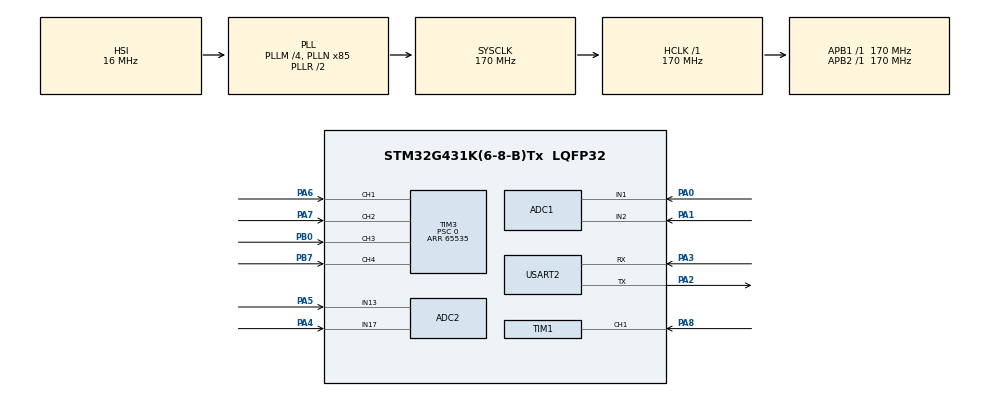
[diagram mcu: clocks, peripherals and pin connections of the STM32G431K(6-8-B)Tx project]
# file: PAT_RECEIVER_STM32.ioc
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ADC1.Channel-0\#ChannelRegularConversion=ADC_CHANNEL_1
ADC1.Channel-1\#ChannelRegularConversion=ADC_CHANNEL_2
ADC1.ContinuousConvMode=ENABLE
ADC1.DMAContinuousRequests=ENABLE
ADC1.NbrOfConversion=2
ADC1.NbrOfConversionFlag=1
ADC1.OffsetNumber-0\#ChannelRegularConversion=ADC_OFFSET_NONE
ADC1.OffsetNumber-1\#ChannelRegularConversion=ADC_OFFSET_NONE
ADC1.Overrun=ADC_OVR_DATA_OVERWRITTEN
ADC1.Rank-0\#ChannelRegularConversion=1
ADC1.Rank-1\#ChannelRegularConversion=2
ADC1.SamplingTime-0\#ChannelRegularConversion=ADC_SAMPLETIME_24CYCLES_5
ADC1.SamplingTime-1\#ChannelRegularConversion=ADC_SAMPLETIME_24CYCLES_5
ADC1.master=1
ADC2.Channel-0\#ChannelRegularConversion=ADC_CHANNEL_17
ADC2.Channel-1\#ChannelRegularConversion=ADC_CHANNEL_13
ADC2.ContinuousConvMode=ENABLE
ADC2.DMAContinuousRequests=ENABLE
ADC2.NbrOfConversion=2
ADC2.NbrOfConversionFlag=1
ADC2.OffsetNumber-0\#ChannelRegularConversion=ADC_OFFSET_NONE
ADC2.OffsetNumber-1\#ChannelRegularConversion=ADC_OFFSET_NONE
ADC2.Overrun=ADC_OVR_DATA_OVERWRITTEN
ADC2.Rank-0\#ChannelRegularConversion=1
ADC2.Rank-1\#ChannelRegularConversion=2
ADC2.SamplingTime-0\#ChannelRegularConversion=ADC_SAMPLETIME_24CYCLES_5
ADC2.SamplingTime-1\#ChannelRegularConversion=ADC_SAMPLETIME_24CYCLES_5
Dma.ADC1.0.Direction=DMA_PERIPH_TO_MEMORY
Dma.ADC1.0.EventEnable=DISABLE
Dma.ADC1.0.Instance=DMA1_Channel1
Dma.ADC1.0.MemDataAlignment=DMA_MDATAALIGN_HALFWORD
Dma.ADC1.0.MemInc=DMA_MINC_ENABLE
Dma.ADC1.0.Mode=DMA_NORMAL
Dma.ADC1.0.PeriphDataAlignment=DMA_PDATAALIGN_HALFWORD
Dma.ADC1.0.PeriphInc=DMA_PINC_DISABLE
Dma.ADC1.0.Polarity=HAL_DMAMUX_REQ_GEN_RISING
Dma.ADC1.0.Priority=DMA_PRIORITY_HIGH
Dma.ADC1.0.RequestNumber=1
Dma.ADC1.0.SignalID=NONE
Dma.ADC1.0.SyncEnable=DISABLE
Dma.ADC1.0.SyncPolarity=HAL_DMAMUX_SYNC_NO_EVENT
Dma.ADC1.0.SyncRequestNumber=1
Dma.ADC1.0.SyncSignalID=NONE
Dma.ADC2.1.Direction=DMA_PERIPH_TO_MEMORY
Dma.ADC2.1.EventEnable=DISABLE
Dma.ADC2.1.Instance=DMA1_Channel2
Dma.ADC2.1.MemDataAlignment=DMA_MDATAALIGN_HALFWORD
Dma.ADC2.1.MemInc=DMA_MINC_ENABLE
Dma.ADC2.1.Mode=DMA_NORMAL
Dma.ADC2.1.PeriphDataAlignment=DMA_PDATAALIGN_HALFWORD
Dma.ADC2.1.PeriphInc=DMA_PINC_DISABLE
Dma.ADC2.1.Polarity=HAL_DMAMUX_REQ_GEN_RISING
Dma.ADC2.1.Priority=DMA_PRIORITY_HIGH
Dma.ADC2.1.RequestNumber=1
Dma.ADC2.1.SignalID=NONE
Dma.ADC2.1.SyncEnable=DISABLE
Dma.ADC2.1.SyncPolarity=HAL_DMAMUX_SYNC_NO_EVENT
Dma.ADC2.1.SyncRequestNumber=1
Dma.ADC2.1.SyncSignalID=NONE
Dma.Request0=ADC1
Dma.Request1=ADC2
Mcu.Family=STM32G4
Mcu.Name=STM32G431K(6-8-B)Tx
Mcu.Package=LQFP32
NUCLEO-G431KB.LD2=true
NUCLEO-G431KB.VCP=false
NVIC.DMA1_Channel1_IRQn=true\:0\:0\:false\:false\:true\:false\:true\:true
NVIC.DMA1_Channel2_IRQn=true\:0\:0\:false\:false\:true\:false\:true\:true
NVIC.PriorityGroup=NVIC_PRIORITYGROUP_4
NVIC.TIM3_IRQn=true\:0\:0\:false\:false\:true\:true\:true\:true
PA0.Mode=IN1-Single-Ended
PA0.Signal=ADC1_IN1
PA1.Mode=IN2-Single-Ended
PA1.Signal=ADC1_IN2
PA13.GPIO_Label=T_SWDIO
PA13.Signal=SYS_JTMS-SWDIO
PA14.GPIO_Label=T_SWCLK
PA14.Signal=SYS_JTCK-SWCLK
PA2.Mode=Asynchronous
PA2.Signal=USART2_TX
PA3.Mode=Asynchronous
PA3.Signal=USART2_RX
PA4.Mode=IN17-Single-Ended
PA4.Signal=ADC2_IN17
PA5.Mode=IN13-Single-Ended
PA5.Signal=ADC2_IN13
PA6.Signal=S_TIM3_CH1
PA7.Signal=S_TIM3_CH2
PA8.Signal=S_TIM1_CH1
PB0.Signal=S_TIM3_CH3
PB3.GPIO_Label=T_SWO
PB3.Signal=SYS_JTDO-SWO
PB7.Signal=S_TIM3_CH4
ProjectManager.HeapSize=0x200
ProjectManager.StackSize=0x400
ProjectManager.TargetToolchain=Makefile
RCC.ADC12Freq_Value=170000000
RCC.AHBFreq_Value=170000000
RCC.APB1Freq_Value=170000000
RCC.APB1TimFreq_Value=170000000
RCC.APB2Freq_Value=170000000
RCC.APB2TimFreq_Value=170000000
RCC.CortexFreq_Value=170000000
RCC.EXTERNAL_CLOCK_VALUE=12288000
RCC.HCLKFreq_Value=170000000
RCC.HSE_VALUE=8000000
RCC.HSI48_VALUE=48000000
RCC.HSI_VALUE=16000000
RCC.LSE_VALUE=32768
RCC.PLLM=RCC_PLLM_DIV4
RCC.PLLN=85
RCC.SYSCLKFreq_VALUE=170000000
RCC.SYSCLKSource=RCC_SYSCLKSOURCE_PLLCLK
RCC.USBFreq_Value=170000000
RCC.VCOOutputFreq_Value=340000000
SH.S_TIM1_CH1.0=TIM1_CH1,Input_Capture1_from_TI1
SH.S_TIM1_CH1.1=TIM1_CH1,TriggerSource_TI1FP1
SH.S_TIM3_CH1.0=TIM3_CH1,Input_Capture1_from_TI1
SH.S_TIM3_CH2.0=TIM3_CH2,Input_Capture2_from_TI2
SH.S_TIM3_CH3.0=TIM3_CH3,Input_Capture3_from_TI3
SH.S_TIM3_CH4.0=TIM3_CH4,Input_Capture4_from_TI4
TIM1.Channel-Input_Capture1_from_TI1=TIM_CHANNEL_1
TIM1.PeriodNoDither=65535
TIM1.TIM_MasterOutputTrigger=TIM_TRGO_UPDATE
TIM1.TIM_MasterSlaveMode=TIM_MASTERSLAVEMODE_DISABLE
TIM3.Channel-Input_Capture1_from_TI1=TIM_CHANNEL_1
TIM3.Channel-Input_Capture2_from_TI2=TIM_CHANNEL_2
TIM3.Channel-Input_Capture3_from_TI3=TIM_CHANNEL_3
TIM3.Channel-Input_Capture4_from_TI4=TIM_CHANNEL_4
TIM3.ICPolarity_CH2=TIM_INPUTCHANNELPOLARITY_RISING
TIM3.PeriodNoDither=65535
TIM3.Prescaler=0
USART2.VirtualMode-Asynchronous=VM_ASYNC
VP_NUCLEO-G431KB_VS_BSP_COMMON.Mode=COMMON
VP_SYS_VS_DBSignals.Mode=DisableDeadBatterySignals
VP_TIM1_VS_ClockSourceINT.Mode=Internal
VP_TIM1_VS_ControllerModeReset.Mode=Reset Mode
VP_TIM3_VS_ClockSourceINT.Mode=Internal
VP_TIM3_VS_ClockSourceITR.Mode=TriggerSource_ITR0
VP_TIM3_VS_ControllerModeReset.Mode=Reset Mode
board=NUCLEO-G431KB

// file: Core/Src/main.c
/* USER CODE BEGIN Header */
/**
  ******************************************************************************
  * @file           : main.c
  * @brief          : PAT 3-channel calibration logger (RX1-RX3)
  ******************************************************************************
  *
  * Target:
  *   NUCLEO-G431KB / STM32G431KBTx
  *
  * External 40 kHz PAT reference:
  *   PA8 / TIM1_CH1 = PAT_REF input capture
  *   TIM1 slave mode = Reset Mode
  *   TIM1 trigger    = TI1FP1
  *   TIM1 TRGO       = Update Event
  *
  * Phase capture:
  *   TIM3 slave mode = Reset Mode
  *   TIM3 trigger    = ITR0 / TIM1_TRGO
  *
  *   PA6 / TIM3_CH1 = RX1 comparator
  *   PA7 / TIM3_CH2 = RX2 comparator
  *   PB0 / TIM3_CH3 = RX3 comparator
  *   PB7 / TIM3_CH4 = RX4 comparator (not used in calibration mode)
  *
  * Buffered waveform ADC inputs:
  *   PA0 / ADC1_IN1  = CH1_TO_ADC
  *   PA1 / ADC1_IN2  = CH2_TO_ADC
  *   PA4 / ADC2_IN17 = CH3_TO_ADC
  *   PA5 / ADC2_IN13 = CH4_TO_ADC
  *
  * Each CHx_TO_ADC signal is taken after the 10k/15k divider and
  * MCP6022 voltage follower.  The firmware reports both the voltage
  * measured at the ADC buffer output and the estimated amplifier-output
  * voltage restored by 5/3.
  *
  * ADC acquisition used by this file:
  *   ADC1: scan 2 ranks continuously, DMA normal
  *         rank 1 = ADC1_IN1, rank 2 = ADC1_IN2
  *   ADC2: scan 2 ranks continuously, DMA normal
  *         rank 1 = ADC2_IN17, rank 2 = ADC2_IN13
  *   Software trigger, continuous conversion enabled.
  *
  * USART2:
  *   PA2 / PA3, 115200 baud
  *
  ******************************************************************************
  */
/* USER CODE END Header */

#include "main.h"
#include "adc.h"
#include "dma.h"
#include "tim.h"
#include "usart.h"
#include "gpio.h"

/* USER CODE BEGIN Includes */
#include <stdint.h>
#include <stdio.h>
/* USER CODE END Includes */

/* USER CODE BEGIN PTD */

typedef struct
{
  uint16_t adc_min;
  uint16_t adc_max;

  uint32_t buffer_dc_mV;
  uint32_t buffer_rms_mV;
  uint32_t buffer_vpp_mV;

  uint32_t amp_rms_mV;
  uint32_t amp_vpp_mV;

  uint32_t pressure_cPa;

  uint8_t clipping;
} RxAmplitudeResult;

typedef struct
{
  uint32_t raw_ticks;
  uint32_t capture_count;
  uint32_t capture_delta;

  int32_t corrected_ticks;
  int32_t delay_ns;
  int32_t phase_mdeg;

  uint8_t has_capture;
  uint8_t edge_rate_valid;
  uint8_t phase_valid;
} RxPhaseResult;

/* USER CODE END PTD */

/* USER CODE BEGIN PD */

#define RX_CHANNEL_COUNT              4U
#define CAL_RX_CHANNEL_COUNT          3U

/*
 * TIM1/TIM3 timer clock = 170 MHz.
 * 170 MHz / 40 kHz = 4250 timer ticks.
 */
#define PAT_PERIOD_TICKS              4250UL
#define TIMER_CLOCK_MHZ               170L

/* Per-channel phase calibration offsets. */
#define RX1_ZERO_OFFSET_TICKS         0L
#define RX2_ZERO_OFFSET_TICKS         0L
#define RX3_ZERO_OFFSET_TICKS         0L
#define RX4_ZERO_OFFSET_TICKS         0L

#define REPORT_INTERVAL_MS            200UL
#define ADC_CAPTURE_TIMEOUT_MS        50UL

#define ADC_VREF_MV                   3300UL
#define ADC_MAX_COUNTS                4095UL

/*
 * ADC1 and ADC2 each scan two ranks continuously.
 * The DMA stream therefore contains:
 *
 *   ADC1: CH1, CH2, CH1, CH2, ...
 *   ADC2: CH3, CH4, CH3, CH4, ...
 *
 * 2048 points per receiver channel gives a useful waveform block while
 * staying comfortably inside the STM32G431KB SRAM budget.
 */
#define ADC_SAMPLES_PER_CHANNEL       2048U
#define ADC_CHANNELS_PER_ADC          2U
#define ADC_DMA_LENGTH                \
    (ADC_SAMPLES_PER_CHANNEL * ADC_CHANNELS_PER_ADC)

/* ADC rail checks. */
#define ADC_CLIP_LOW_COUNTS           16U
#define ADC_CLIP_HIGH_COUNTS          4079U

/*
 * Schematic divider before each CHx_TO_ADC buffer:
 *
 *   amplifier output -- 10k -- ADC-buffer node -- 15k -- GND
 *
 * Vbuffer = Vamp * 15 / (10 + 15) = Vamp * 3/5
 * Vamp    = Vbuffer * 5/3
 */
#define ADC_DIV_RESTORE_NUMERATOR     5UL
#define ADC_DIV_RESTORE_DENOMINATOR   3UL

/*
 * HC10T-40TR-P approximate receive sensitivity:
 * -75 dBV/uBar ~= 1.78 mV/Pa = 1780 uV/Pa.
 */
#define RX_SENS_UV_PER_PA             1780UL

/* MCP6022 non-inverting amplifier gain: 1 + 22k/10k = 3.2. */
#define AMP_GAIN_X1000                3200UL

/* Optional validity checks. */
#define MIN_VALID_BUFFER_RMS_MV       15UL
#define MIN_VALID_CAPTURE_DELTA       7000UL
#define MAX_VALID_CAPTURE_DELTA       9000UL

/* USER CODE END PD */

/* USER CODE BEGIN PV */

static uint16_t adc1_dma_buffer[ADC_DMA_LENGTH]
    __attribute__((aligned(4)));

static uint16_t adc2_dma_buffer[ADC_DMA_LENGTH]
    __attribute__((aligned(4)));

static volatile uint8_t adc1_capture_done = 0U;
static volatile uint8_t adc2_capture_done = 0U;
static volatile uint8_t adc1_capture_error = 0U;
static volatile uint8_t adc2_capture_error = 0U;

/* TIM3_CH1..CH4 capture state for RX1..RX4. */
static volatile uint32_t rx_raw_ticks[RX_CHANNEL_COUNT] = {0U};
static volatile uint32_t rx_capture_count[RX_CHANNEL_COUNT] = {0U};
static volatile uint8_t rx_new_data[RX_CHANNEL_COUNT] = {0U};

/* USER CODE END PV */

void SystemClock_Config(void);

/* USER CODE BEGIN PFP */

static uint8_t capture_adc_block(void);

static uint8_t analyse_interleaved_channel(
    const uint16_t *buffer,
    uint32_t buffer_length,
    uint32_t channel_offset,
    RxAmplitudeResult *result);

static void snapshot_phase_state(
    RxPhaseResult phase[RX_CHANNEL_COUNT],
    uint32_t previous_count[RX_CHANNEL_COUNT]);

static uint64_t integer_sqrt_u64(uint64_t value);
static int32_t wrap_to_signed_period(int32_t ticks);
static int32_t phase_zero_offset_ticks(uint32_t channel_index);

static void print_calibration_report(
    const RxAmplitudeResult amplitude[RX_CHANNEL_COUNT],
    const RxPhaseResult phase[RX_CHANNEL_COUNT]);

/* USER CODE END PFP */

int main(void)
{

  /* MCU Configuration--------------------------------------------------------*/
  HAL_Init();

  SystemClock_Config();

  /* Initialize all configured peripherals */
  MX_GPIO_Init();
  MX_DMA_Init();
  MX_TIM1_Init();
  MX_TIM3_Init();
  MX_USART2_UART_Init();
  MX_ADC1_Init();
  MX_ADC2_Init();

  /* USER CODE BEGIN 2 */

  /*
   * Verbose startup text temporarily disabled.
   * Keep UART output limited to CHx amplitude + phase.
   */
#if 0
  const char boot_message[] =
      "\r\n"
      "PAT STM32 3-channel calibration receiver started\r\n"
      "PA8  TIM1_CH1 = external PAT_REF input\r\n"
      "PA6  TIM3_CH1 = RX1 comparator\r\n"
      "PA7  TIM3_CH2 = RX2 comparator\r\n"
      "PB0  TIM3_CH3 = RX3 comparator\r\n"
      "PB7  TIM3_CH4 = RX4 comparator\r\n"
      "PA0  ADC1_IN1  = CH1_TO_ADC\r\n"
      "PA1  ADC1_IN2  = CH2_TO_ADC\r\n"
      "PA4  ADC2_IN17 = CH3_TO_ADC\r\n"
      "PA5  ADC2_IN13 = CH4_TO_ADC\r\n";

  HAL_UART_Transmit(
      &huart2,
      (uint8_t *)boot_message,
      sizeof(boot_message) - 1U,
      HAL_MAX_DELAY);
#endif

  /* Calibrate both ADCs for single-ended operation. */
  if (HAL_ADCEx_Calibration_Start(
          &hadc1,
          ADC_SINGLE_ENDED) != HAL_OK)
  {
    Error_Handler();
  }

  if (HAL_ADCEx_Calibration_Start(
          &hadc2,
          ADC_SINGLE_ENDED) != HAL_OK)
  {
    Error_Handler();
  }

  /*
   * Phase timing architecture:
   *
   *   PAT_REF -> PA8 / TIM1_CH1 input capture
   *           -> TIM1 Reset Mode, trigger TI1FP1
   *           -> TIM1 TRGO (Update Event)
   *           -> TIM3 ITR0, Reset Mode
   *           -> TIM3_CH1/2/3 capture RX1/RX2/RX3 comparator edges
   *
   * Start the receiver capture channels first, then enable PAT_REF last.
   */
  __HAL_TIM_SET_COUNTER(&htim3, 0U);

  if (HAL_TIM_IC_Start_IT(&htim3, TIM_CHANNEL_1) != HAL_OK)
  {
    Error_Handler();
  }

  if (HAL_TIM_IC_Start_IT(&htim3, TIM_CHANNEL_2) != HAL_OK)
  {
    Error_Handler();
  }

  if (HAL_TIM_IC_Start_IT(&htim3, TIM_CHANNEL_3) != HAL_OK)
  {
    Error_Handler();
  }

  /*
   * RX4 is intentionally excluded from calibration mode.  ADC2 still scans
   * CH3 + CH4 as configured, but TIM3_CH4 capture is not started.
   */

  /*
   * Enable the external PAT_REF input.  No interrupt is needed on TIM1_CH1;
   * the timer-to-timer synchronization path operates fully in hardware.
   */
  if (HAL_TIM_IC_Start(&htim1, TIM_CHANNEL_1) != HAL_OK)
  {
    Error_Handler();
  }

  /* USER CODE END 2 */

  /* Initialize leds */
  BSP_LED_Init(LED_GREEN);

  /* Infinite loop */
  /* USER CODE BEGIN WHILE */

  uint32_t last_report_ms = 0U;
  uint32_t previous_capture_count[RX_CHANNEL_COUNT] = {0U};

  while (1)
  {
    uint32_t current_ms = HAL_GetTick();

    if ((current_ms - last_report_ms) >= REPORT_INTERVAL_MS)
    {
      last_report_ms = current_ms;

      RxAmplitudeResult amplitude[RX_CHANNEL_COUNT] = {{0}};
      uint8_t amplitude_ok[RX_CHANNEL_COUNT] = {0U};
      RxPhaseResult phase[RX_CHANNEL_COUNT] = {{0}};

      if (capture_adc_block() != 0U)
      {
        amplitude_ok[0] = analyse_interleaved_channel(
            adc1_dma_buffer,
            ADC_DMA_LENGTH,
            0U,
            &amplitude[0]);

        amplitude_ok[1] = analyse_interleaved_channel(
            adc1_dma_buffer,
            ADC_DMA_LENGTH,
            1U,
            &amplitude[1]);

        amplitude_ok[2] = analyse_interleaved_channel(
            adc2_dma_buffer,
            ADC_DMA_LENGTH,
            0U,
            &amplitude[2]);

        /* ADC2 still acquires CH4 as rank 2; calibration mode ignores it. */
        amplitude_ok[3] = 0U;
      }

      snapshot_phase_state(
          phase,
          previous_capture_count);

      for (uint32_t channel = 0U;
           channel < CAL_RX_CHANNEL_COUNT;
           channel++)
      {
        /*
         * Accept phase only when the analogue waveform is clearly above the
         * measured idle noise floor, the ADC is not clipped, and the comparator
         * edge rate is consistent with approximately 40 kHz.
         */
        uint8_t amplitude_valid =
            ((amplitude_ok[channel] != 0U)
             && (amplitude[channel].clipping == 0U)
             && (amplitude[channel].buffer_rms_mV
                 >= MIN_VALID_BUFFER_RMS_MV))
                ? 1U
                : 0U;

        phase[channel].phase_valid =
            ((phase[channel].has_capture != 0U)
             && (phase[channel].raw_ticks < PAT_PERIOD_TICKS)
             && (phase[channel].edge_rate_valid != 0U)
             && (amplitude_valid != 0U))
                ? 1U
                : 0U;
      }

      /*
       * One CSV record per measurement snapshot.
       * Format:
       * CAL,amp1_mV,phase1_mdeg,amp2_mV,phase2_mdeg,amp3_mV,phase3_mdeg
       */
      print_calibration_report(amplitude, phase);
    }

    /* USER CODE END WHILE */
  }
}

void SystemClock_Config(void)
{
  RCC_OscInitTypeDef RCC_OscInitStruct = {0};
  RCC_ClkInitTypeDef RCC_ClkInitStruct = {0};

  /** Configure the main internal regulator output voltage
  */
  HAL_PWREx_ControlVoltageScaling(PWR_REGULATOR_VOLTAGE_SCALE1_BOOST);

  /** Initializes the RCC Oscillators according to the specified parameters
  * in the RCC_OscInitTypeDef structure.
  */
  RCC_OscInitStruct.OscillatorType = RCC_OSCILLATORTYPE_HSI;
  RCC_OscInitStruct.HSIState = RCC_HSI_ON;
  RCC_OscInitStruct.HSICalibrationValue = RCC_HSICALIBRATION_DEFAULT;
  RCC_OscInitStruct.PLL.PLLState = RCC_PLL_ON;
  RCC_OscInitStruct.PLL.PLLSource = RCC_PLLSOURCE_HSI;
  RCC_OscInitStruct.PLL.PLLM = RCC_PLLM_DIV4;
  RCC_OscInitStruct.PLL.PLLN = 85;
  RCC_OscInitStruct.PLL.PLLP = RCC_PLLP_DIV2;
  RCC_OscInitStruct.PLL.PLLQ = RCC_PLLQ_DIV2;
  RCC_OscInitStruct.PLL.PLLR = RCC_PLLR_DIV2;

  if (HAL_RCC_OscConfig(&RCC_OscInitStruct) != HAL_OK)
  {
    Error_Handler();
  }

  /** Initializes the CPU, AHB and APB buses clocks
  */
  RCC_ClkInitStruct.ClockType = RCC_CLOCKTYPE_HCLK|RCC_CLOCKTYPE_SYSCLK
                              |RCC_CLOCKTYPE_PCLK1|RCC_CLOCKTYPE_PCLK2;
  RCC_ClkInitStruct.SYSCLKSource = RCC_SYSCLKSOURCE_PLLCLK;
  RCC_ClkInitStruct.AHBCLKDivider = RCC_SYSCLK_DIV1;
  RCC_ClkInitStruct.APB1CLKDivider = RCC_HCLK_DIV1;
  RCC_ClkInitStruct.APB2CLKDivider = RCC_HCLK_DIV1;

  if (HAL_RCC_ClockConfig(&RCC_ClkInitStruct, FLASH_LATENCY_4) != HAL_OK)
  {
    Error_Handler();
  }
}

/* USER CODE BEGIN 4 */

/**
  * @brief TIM3 input-capture callback for receiver comparator channels.
  */
void HAL_TIM_IC_CaptureCallback(
    TIM_HandleTypeDef *htim)
{
  if (htim->Instance != TIM3)
  {
    return;
  }

  uint32_t index;
  uint32_t channel;

  switch (htim->Channel)
  {
    case HAL_TIM_ACTIVE_CHANNEL_1:
      index = 0U;
      channel = TIM_CHANNEL_1;
      break;

    case HAL_TIM_ACTIVE_CHANNEL_2:
      index = 1U;
      channel = TIM_CHANNEL_2;
      break;

    case HAL_TIM_ACTIVE_CHANNEL_3:
      index = 2U;
      channel = TIM_CHANNEL_3;
      break;

    case HAL_TIM_ACTIVE_CHANNEL_4:
      index = 3U;
      channel = TIM_CHANNEL_4;
      break;

    default:
      return;
  }

  rx_raw_ticks[index] =
      HAL_TIM_ReadCapturedValue(
          htim,
          channel);

  rx_capture_count[index]++;
  rx_new_data[index] = 1U;
}

/**
  * @brief ADC DMA conversion-complete callback.
  */
void HAL_ADC_ConvCpltCallback(
    ADC_HandleTypeDef *hadc)
{
  if (hadc->Instance == ADC1)
  {
    adc1_capture_done = 1U;
  }
  else if (hadc->Instance == ADC2)
  {
    adc2_capture_done = 1U;
  }
}

/**
  * @brief ADC DMA error callback.
  */
void HAL_ADC_ErrorCallback(
    ADC_HandleTypeDef *hadc)
{
  if (hadc->Instance == ADC1)
  {
    adc1_capture_error = 1U;
  }
  else if (hadc->Instance == ADC2)
  {
    adc2_capture_error = 1U;
  }
}

/**
  * @brief Capture one four-channel waveform block using ADC1 + ADC2 DMA.
  * @retval 1 on success, 0 on timeout or HAL error.
  */
static uint8_t capture_adc_block(void)
{
  adc1_capture_done = 0U;
  adc2_capture_done = 0U;
  adc1_capture_error = 0U;
  adc2_capture_error = 0U;

  /* Make repeated captures deterministic. */
  HAL_ADC_Stop_DMA(&hadc1);
  HAL_ADC_Stop_DMA(&hadc2);

  /*
   * Start ADC2 first, then ADC1.  Exact alignment is not required for the
   * RMS calculation; phase comes from TIM3 comparator captures.
   */
  if (HAL_ADC_Start_DMA(
          &hadc2,
          (uint32_t *)adc2_dma_buffer,
          ADC_DMA_LENGTH) != HAL_OK)
  {
    return 0U;
  }

  if (HAL_ADC_Start_DMA(
          &hadc1,
          (uint32_t *)adc1_dma_buffer,
          ADC_DMA_LENGTH) != HAL_OK)
  {
    HAL_ADC_Stop_DMA(&hadc2);
    return 0U;
  }

  uint32_t start_ms = HAL_GetTick();

  while (((adc1_capture_done == 0U)
          || (adc2_capture_done == 0U))
         && (adc1_capture_error == 0U)
         && (adc2_capture_error == 0U))
  {
    if ((HAL_GetTick() - start_ms)
        >= ADC_CAPTURE_TIMEOUT_MS)
    {
      HAL_ADC_Stop_DMA(&hadc1);
      HAL_ADC_Stop_DMA(&hadc2);
      return 0U;
    }
  }

  HAL_ADC_Stop_DMA(&hadc1);
  HAL_ADC_Stop_DMA(&hadc2);

  if ((adc1_capture_error != 0U)
      || (adc2_capture_error != 0U)
      || (adc1_capture_done == 0U)
      || (adc2_capture_done == 0U))
  {
    return 0U;
  }

  return 1U;
}

/**
  * @brief Analyse one channel inside a two-rank interleaved DMA buffer.
  *
  * The DC bias is removed mathematically before AC RMS is calculated.
  * channel_offset must be 0 or 1.
  */
static uint8_t analyse_interleaved_channel(
    const uint16_t *buffer,
    uint32_t buffer_length,
    uint32_t channel_offset,
    RxAmplitudeResult *result)
{
  if ((buffer == NULL)
      || (result == NULL)
      || (buffer_length < 2U)
      || (channel_offset >= ADC_CHANNELS_PER_ADC))
  {
    return 0U;
  }

  uint32_t count = 0U;
  uint64_t sum = 0ULL;
  uint64_t sum_squared = 0ULL;
  uint16_t sample_min = (uint16_t)ADC_MAX_COUNTS;
  uint16_t sample_max = 0U;

  for (uint32_t i = channel_offset;
       i < buffer_length;
       i += ADC_CHANNELS_PER_ADC)
  {
    uint32_t sample = buffer[i];

    sum += sample;
    sum_squared +=
        (uint64_t)sample * (uint64_t)sample;
    count++;

    if (sample < sample_min)
    {
      sample_min = (uint16_t)sample;
    }

    if (sample > sample_max)
    {
      sample_max = (uint16_t)sample;
    }
  }

  if (count == 0U)
  {
    return 0U;
  }

  uint64_t count_u64 = (uint64_t)count;

  /*
   * Centered energy:
   *   E = N*sum(x^2) - sum(x)^2
   *   RMS_counts = sqrt(E) / N
   *
   * x1000 keeps sub-count precision without floating point.
   */
  uint64_t centered_energy =
      count_u64 * sum_squared
      - sum * sum;

  uint64_t rms_counts_x1000 =
      integer_sqrt_u64(
          centered_energy * 1000000ULL)
      / count_u64;

  uint64_t buffer_dc_mV =
      sum * ADC_VREF_MV
      / (count_u64 * ADC_MAX_COUNTS);

  uint64_t buffer_rms_mV =
      rms_counts_x1000 * ADC_VREF_MV
      / (ADC_MAX_COUNTS * 1000ULL);

  uint64_t buffer_vpp_mV =
      (uint64_t)(sample_max - sample_min)
      * ADC_VREF_MV
      / ADC_MAX_COUNTS;

  uint64_t amp_rms_mV =
      buffer_rms_mV
      * ADC_DIV_RESTORE_NUMERATOR
      / ADC_DIV_RESTORE_DENOMINATOR;

  uint64_t amp_vpp_mV =
      buffer_vpp_mV
      * ADC_DIV_RESTORE_NUMERATOR
      / ADC_DIV_RESTORE_DENOMINATOR;

  result->adc_min = sample_min;
  result->adc_max = sample_max;
  result->buffer_dc_mV = (uint32_t)buffer_dc_mV;
  result->buffer_rms_mV = (uint32_t)buffer_rms_mV;
  result->buffer_vpp_mV = (uint32_t)buffer_vpp_mV;
  result->amp_rms_mV = (uint32_t)amp_rms_mV;
  result->amp_vpp_mV = (uint32_t)amp_vpp_mV;

  result->clipping =
      ((sample_min <= ADC_CLIP_LOW_COUNTS)
       || (sample_max >= ADC_CLIP_HIGH_COUNTS))
          ? 1U
          : 0U;

  /*
   * Approximate acoustic pressure from the restored amplifier-output RMS.
   * Result is centi-Pascal (100 cPa = 1 Pa).
   */
  uint64_t pressure_denominator =
      (uint64_t)RX_SENS_UV_PER_PA
      * (uint64_t)AMP_GAIN_X1000;

  if (pressure_denominator != 0ULL)
  {
    result->pressure_cPa =
        (uint32_t)(
            amp_rms_mV * 100000000ULL
            / pressure_denominator);
  }
  else
  {
    result->pressure_cPa = 0U;
  }

  return 1U;
}

/**
  * @brief Atomically snapshot receiver phase state and calculate phase.
  */
static void snapshot_phase_state(
    RxPhaseResult phase[RX_CHANNEL_COUNT],
    uint32_t previous_count[RX_CHANNEL_COUNT])
{
  uint32_t ticks_local[RX_CHANNEL_COUNT];
  uint32_t count_local[RX_CHANNEL_COUNT];
  uint8_t new_data_local[RX_CHANNEL_COUNT];

  uint32_t primask = __get_PRIMASK();
  __disable_irq();

  for (uint32_t channel = 0U;
       channel < RX_CHANNEL_COUNT;
       channel++)
  {
    ticks_local[channel] = rx_raw_ticks[channel];
    count_local[channel] = rx_capture_count[channel];
    new_data_local[channel] = rx_new_data[channel];
    rx_new_data[channel] = 0U;
  }

  if (primask == 0U)
  {
    __enable_irq();
  }

  for (uint32_t channel = 0U;
       channel < RX_CHANNEL_COUNT;
       channel++)
  {
    phase[channel].raw_ticks = ticks_local[channel];
    phase[channel].capture_count = count_local[channel];
    phase[channel].capture_delta =
        count_local[channel] - previous_count[channel];
    previous_count[channel] = count_local[channel];
    phase[channel].has_capture = new_data_local[channel];

    phase[channel].edge_rate_valid =
        ((phase[channel].capture_delta >= MIN_VALID_CAPTURE_DELTA)
         && (phase[channel].capture_delta <= MAX_VALID_CAPTURE_DELTA))
            ? 1U
            : 0U;

    phase[channel].corrected_ticks = 0L;
    phase[channel].delay_ns = 0L;
    phase[channel].phase_mdeg = 0L;
    phase[channel].phase_valid = 0U;

    if ((phase[channel].has_capture != 0U)
        && (phase[channel].raw_ticks < PAT_PERIOD_TICKS))
    {
      phase[channel].corrected_ticks =
          wrap_to_signed_period(
              (int32_t)phase[channel].raw_ticks
              - phase_zero_offset_ticks(channel));

      phase[channel].phase_mdeg =
          (phase[channel].corrected_ticks * 360000L)
          / (int32_t)PAT_PERIOD_TICKS;

      phase[channel].delay_ns =
          (phase[channel].corrected_ticks * 1000L)
          / TIMER_CLOCK_MHZ;
    }
  }
}

/**
  * @brief Print one RX1-RX3 calibration CSV record.
  *
  * A record is emitted only when all three calibration receivers have a valid
  * phase measurement.  Amplitude is amplifier-output RMS in mV.  Phase is kept
  * as integer millidegrees so host-side parsing stays simple and lossless.
  *
  * Format:
  *   CAL,amp1_mV,phase1_mdeg,amp2_mV,phase2_mdeg,amp3_mV,phase3_mdeg
  */
static void print_calibration_report(
    const RxAmplitudeResult amplitude[RX_CHANNEL_COUNT],
    const RxPhaseResult phase[RX_CHANNEL_COUNT])
{
  if ((amplitude == NULL) || (phase == NULL))
  {
    return;
  }

  for (uint32_t channel = 0U;
       channel < CAL_RX_CHANNEL_COUNT;
       channel++)
  {
    if (phase[channel].phase_valid == 0U)
    {
      return;
    }
  }

  char message[128];

  int length = snprintf(
      message,
      sizeof(message),
      "CAL,%lu,%ld,%lu,%ld,%lu,%ld\r\n",
      (unsigned long)amplitude[0].amp_rms_mV,
      (long)phase[0].phase_mdeg,
      (unsigned long)amplitude[1].amp_rms_mV,
      (long)phase[1].phase_mdeg,
      (unsigned long)amplitude[2].amp_rms_mV,
      (long)phase[2].phase_mdeg);

  if (length > 0)
  {
    if (length > (int)(sizeof(message) - 1U))
    {
      length = (int)(sizeof(message) - 1U);
    }

    HAL_UART_Transmit(
        &huart2,
        (uint8_t *)message,
        (uint16_t)length,
        100U);
  }
}

/**
  * @brief Return the calibration offset for one receiver channel.
  */
static int32_t phase_zero_offset_ticks(uint32_t channel_index)
{
  switch (channel_index)
  {
    case 0U:
      return RX1_ZERO_OFFSET_TICKS;

    case 1U:
      return RX2_ZERO_OFFSET_TICKS;

    case 2U:
      return RX3_ZERO_OFFSET_TICKS;

    case 3U:
      return RX4_ZERO_OFFSET_TICKS;

    default:
      return 0L;
  }
}

/**
  * @brief Integer square root for a 64-bit unsigned value.
  */
static uint64_t integer_sqrt_u64(uint64_t value)
{
  uint64_t result = 0ULL;
  uint64_t bit = 1ULL << 62;

  while (bit > value)
  {
    bit >>= 2;
  }

  while (bit != 0ULL)
  {
    if (value >= result + bit)
    {
      value -= result + bit;
      result = (result >> 1) + bit;
    }
    else
    {
      result >>= 1;
    }

    bit >>= 2;
  }

  return result;
}

/**
  * @brief Wrap timer ticks to approximately -180 to +180 degrees.
  */
static int32_t wrap_to_signed_period(int32_t ticks)
{
  while (ticks >= (int32_t)(PAT_PERIOD_TICKS / 2UL))
  {
    ticks -= (int32_t)PAT_PERIOD_TICKS;
  }

  while (ticks < -(int32_t)(PAT_PERIOD_TICKS / 2UL))
  {
    ticks += (int32_t)PAT_PERIOD_TICKS;
  }

  return ticks;
}

/**
  * @brief Redirect printf to USART2.
  */
int _write(
    int file,
    char *pointer,
    int length)
{
  (void)file;

  HAL_UART_Transmit(
      &huart2,
      (uint8_t *)pointer,
      (uint16_t)length,
      HAL_MAX_DELAY);

  return length;
}

/* USER CODE END 4 */

void Error_Handler(void)
{
  __disable_irq();
  while (1)
  {
  }
}

#ifdef USE_FULL_ASSERT
/**
  * @brief  Reports the name of the source file and the source line number
  *         where the assert_param error has occurred.
  * @param  file: pointer to the source file name
  * @param  line: source line number
  * @retval None
  */
void assert_failed(uint8_t *file, uint32_t line)
{
  /* USER CODE BEGIN 6 */
  (void)file;
  (void)line;
  /* USER CODE END 6 */
}
#endif /* USE_FULL_ASSERT */
